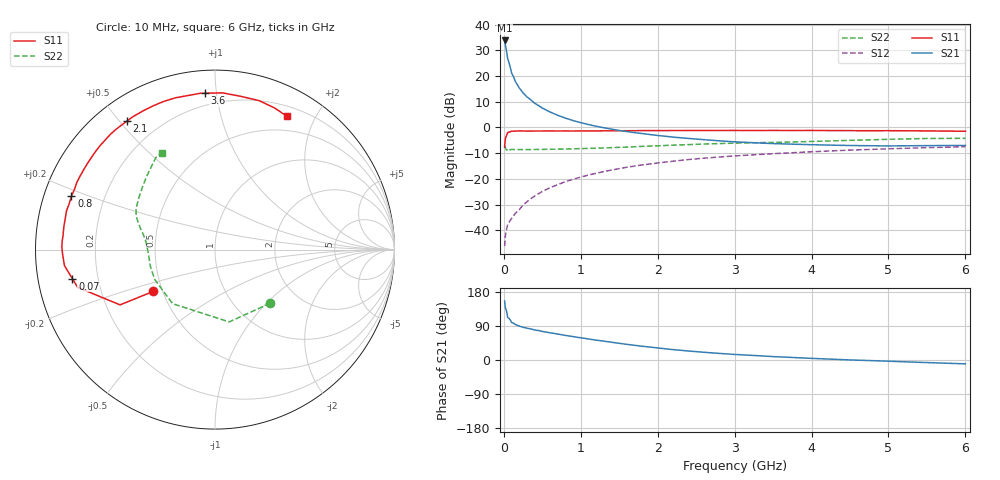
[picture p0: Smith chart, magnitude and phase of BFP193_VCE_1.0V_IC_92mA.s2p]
! Infineon Technologies  Discrete & RF Semiconductors
! BFP193
! VCE =  1.0 V,  IC =  92 mA
! Common Emitter S-Parameters:  Jan 2017
# GHz  S  MA  R  50
!  f  S11  S21  S12  S22
! GHz  MAG  ANG  MAG  ANG  MAG  ANG  MAG  ANG
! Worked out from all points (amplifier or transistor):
!   77 points, 10 MHz to 6 GHz, reference 50 ohm
!   highest |S21| = 33.8 dB at 10 MHz (marker M1)
!   |S21| within 3 dB of that: start of sweep to 27.86 MHz
!   unconditionally stable (mu >= 1): start of sweep to 16.96 MHz; 144.9 MHz to end of sweep
!   at 130 MHz: K = 0.96, MSG = 26.8 dB, |S12| = -34.2 dB
!   at 2.2 GHz: K = 1.10, MAG = 2.8 dB, |S12| = -13.1 dB
!   at 6 GHz: K = 1.08, MAG = -1.5 dB, |S12| = -7.5 dB
!   S11 on the Smith chart (normalised r, x): 10 MHz: 0.44, -0.25; 70 MHz: 0.11, -0.10; 800 MHz: 0.08, +0.18; 2.1 GHz: 0.09, +0.52; 3.6 GHz: 0.13, +0.93; 6 GHz: 0.32, +1.63
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0.01  0.416 -145.9  49.17 155.6  0.0049 63.1  0.4289 -44.1
0.02  0.612 -149.8  40.21 137.8  0.0078 56.4  0.4105 -78.9
0.04  0.728 -160.5  27.16 124.7  0.0112 47.8  0.3598 -111.4
0.05  0.7933 -164.6  21.64 112.5  0.0129 45.2  0.3827 -128.1
0.07  0.8107 -168.5  17.52 109.0  0.0145 48.9  0.3708 -137.9
0.1  0.8433 -173.9  11.56 99.2  0.0169 53.1  0.3744 -153.1
0.15  0.8495 -178.3  7.797 93.6  0.0213 57.5  0.3718 -162.5
0.2  0.8533 179.1  5.87 89.5  0.0251 63.4  0.3718 -167.6
0.25  0.8526 176.7  4.702 86.4  0.0309 64.8  0.3704 -170.8
0.3  0.8502 174.7  3.925 84.0  0.0358 67.2  0.3705 -173.3
0.4  0.8518 171.3  2.965 79.4  0.0461 69.4  0.372 -176.4
0.5  0.8523 168.1  2.378 75.5  0.0567 69.0  0.3735 -178.7
0.6  0.8549 165.2  1.999 71.8  0.0671 68.8  0.3769 179.3
0.8  0.8538 159.5  1.519 64.9  0.0882 68.1  0.3803 176.3
1.1  0.8559 151.2  1.138 55.5  0.1188 64.4  0.391 172.5
1.5  0.8615 140.4  0.873 44.1  0.1579 58.8  0.4097 167.8
2.1  0.8679 124.4  0.673 29.6  0.2119 49.4  0.4453 161.8
3.1  0.8723 102.8  0.516 13.6  0.2845 34.4  0.498 151.4
3.6  0.8731 93.8  0.48 8.1  0.3139 27.8  0.5154 144.9
4.1  0.8715 85.9  0.458 3.5  0.3411 21.2  0.5383 137.9
5.1  0.8629 72.3  0.438 -3.9  0.3877 9.0  0.5914 125.8
6  0.844 61.6  0.446 -10.2  0.4214 -1.2  0.6136 119.0
